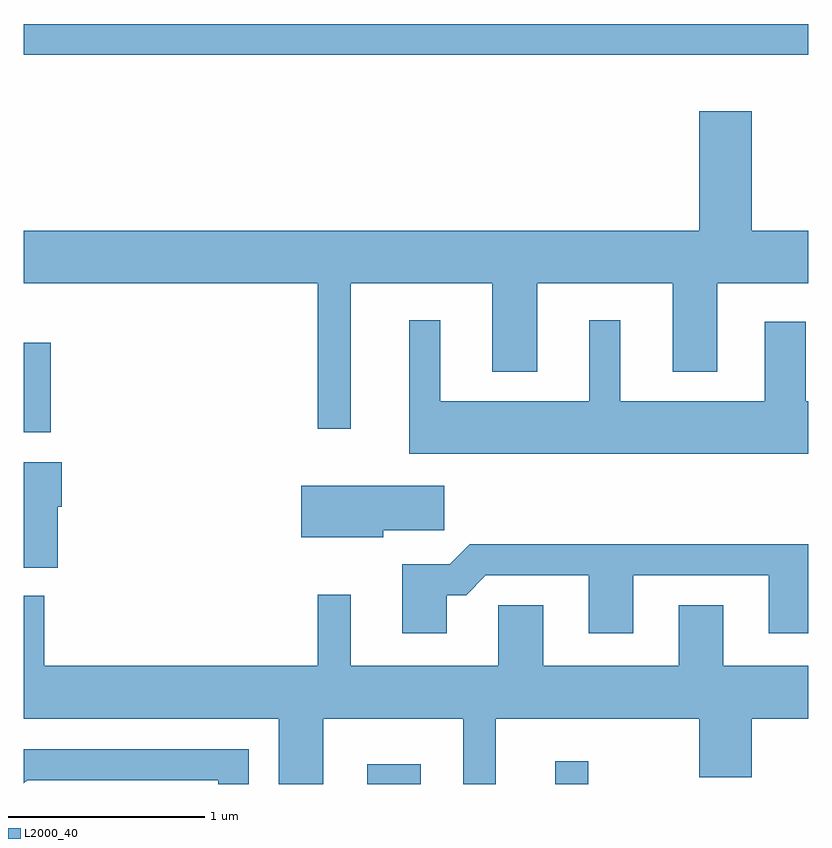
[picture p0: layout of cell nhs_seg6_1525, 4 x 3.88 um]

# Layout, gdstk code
import gdstk
lib = gdstk.Library(unit=1e-6, precision=1e-09)
def R(c, l, rs):  # rectangles x0, y0, x1, y1
    for r in rs: c.add(gdstk.rectangle(r[:2], r[2:], *l))
def P(c, l, *ps):  # polygons
    for p in ps: c.add(gdstk.Polygon(p, *l))
L2000_40 = (2000, 40)

nhs_seg6_1525 = lib.new_cell('nhs_seg6_1525')
R(nhs_seg6_1525, L2000_40, [(233.363,1534.162,233.634,1534.264), (234.321,1534.162,234.489,1534.278), (231.611,1535.956,231.749,1536.414), (231.611,1537.881,235.611,1538.039)])
P(nhs_seg6_1525, L2000_40, [(233.279,1536.716),(234.001,1536.716),(234.001,1536.266),(234.229,1536.266),(234.229,1536.716),(234.921,1536.716),(234.921,1536.266),(235.149,1536.266),(235.149,1536.716),(235.611,1536.716),(235.611,1536.984),(235.324,1536.984),(235.324,1537.594),(235.056,1537.594),(235.056,1536.984),(231.611,1536.984),(231.611,1536.716),(233.111,1536.716),(233.111,1535.973),(233.279,1535.973)],
  [(235.611,1536.114),(235.599,1536.114),(235.599,1536.519),(235.391,1536.519),(235.391,1536.114),(234.654,1536.114),(234.654,1536.528),(234.496,1536.528),(234.496,1536.114),(233.734,1536.114),(233.734,1536.528),(233.576,1536.528),(233.576,1535.846),(235.611,1535.846)],
  [(231.784,1535.576),(231.804,1535.576),(231.804,1535.804),(231.611,1535.804),(231.611,1535.266),(231.784,1535.266)],
  [(233.444,1535.456),(233.754,1535.456),(233.754,1535.684),(233.026,1535.684),(233.026,1535.421),(233.444,1535.421)],
  [(233.769,1535.126),(233.867,1535.126),(233.967,1535.226),(234.491,1535.226),(234.491,1534.931),(234.719,1534.931),(234.719,1535.226),(235.411,1535.226),(235.411,1534.931),(235.611,1534.931),(235.611,1535.384),(233.884,1535.384),(233.784,1535.284),(233.541,1535.284),(233.541,1534.931),(233.769,1534.931)],
  [(233.279,1535.128),(233.111,1535.128),(233.111,1534.764),(231.714,1534.764),(231.714,1535.123),(231.611,1535.123),(231.611,1534.496),(232.911,1534.496),(232.911,1534.162),(233.139,1534.162),(233.139,1534.496),(233.851,1534.496),(233.851,1534.162),(234.019,1534.162),(234.019,1534.496),(235.056,1534.496),(235.056,1534.196),(235.324,1534.196),(235.324,1534.496),(235.611,1534.496),(235.611,1534.764),(235.179,1534.764),(235.179,1535.074),(234.951,1535.074),(234.951,1534.764),(234.259,1534.764),(234.259,1535.074),(234.031,1535.074),(234.031,1534.764),(233.279,1534.764)],
  [(232.759,1534.339),(231.611,1534.339),(231.611,1534.165),(231.627,1534.181),(232.601,1534.181),(232.601,1534.162),(232.759,1534.162)])

lib.write_gds('nhs_seg6_1525.gds')
